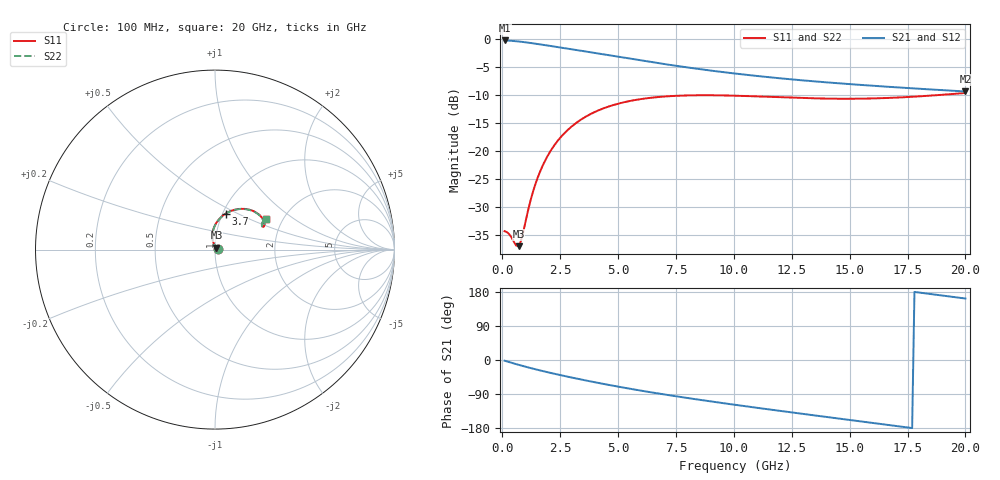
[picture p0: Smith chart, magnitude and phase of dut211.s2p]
! Touchstone file exported from HFSS 2023.1.0
!  File:  D:/Users/fzz/RDL_TSV/temp_RDL_TSV_211_1778757107.aedt
!  Generated:  7:24:07 %x4E0B%x5348  5%x6708 14, 2026
!  Design:  RDL_TSV
!  Project:  temp_RDL_TSV_211_1778757107
!  Setup:  Setup1
!  Solution:  Sweep
! Variables:
!  dtsv = 17.07um
!  hbump = 3um
!  htsv = 53.03um
!  ldown = 671.1um
!  lrdl = 201.79um
!  p = 40
!  p1 = 53.46um
!  rhole = 10um
!  subl = 2820.46um
!  t = 450um
!  tdown = 2.61um
!  trdl = 4.27um
!  viad = 10um
!  wdown = 20.51um
!  wrdl = 10.91um
!  xbump = 18um
# GHz S MA R 50.000000
! Terminal data exported
! Port[1] = TM1_1_T1
! Port[2] = TM1_4_T1
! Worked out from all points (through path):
!   200 points, 100 MHz to 20 GHz, reference 50 ohm
!   highest |S21| = -0.17 dB at 100 MHz (marker M1); lowest = -9.3 dB at 20 GHz (marker M2)
!   group delay of S21, straight-line fit = 25.7 ps
!   lowest |S11| = -37.1 dB at 700 MHz (marker M3), VSWR 1.03, Z = 50.8 + j1.15 ohm
!   |S11| at or under -10 dB: start of sweep to 8.386 GHz; 9.101 GHz to 18.71 GHz (9.607 GHz wide, 69.1 % of centre)
!   |S22| runs from -37.0 to -9.6 dB; largest |S21 - S12| = 9.1e-15
!   S11 on the Smith chart (normalised r, x): 100 MHz: 1.04, +0.00; 3.7 GHz: 1.03, +0.43; 20 GHz: 1.64, +0.63
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0.1  0.01912 3.8  0.9802 -1.9  0.9802 -1.9  0.01913 3.8
! Gamma 0 0 0 0
! Port Impedance 50 0 50 0
0.3  0.01797 11.7  0.976 -5.6  0.976 -5.6  0.01798 11.6
0.6  0.01422 37.4  0.9648 -10.9  0.9648 -10.9  0.01423 37.2
0.7  0.01404 53.5  0.96 -12.7  0.96 -12.7  0.01405 53.3
0.8  0.01547 70.4  0.9549 -14.4  0.9549 -14.4  0.01545 70.1
1.2  0.03474 101.7  0.9317 -20.9  0.9317 -20.9  0.03462 101.6
1.4  0.04838 103.8  0.9191 -24.0  0.9191 -24.0  0.04822 103.7
1.6  0.06308 103.1  0.9062 -27.1  0.9062 -27.1  0.06288 103.0
1.8  0.07831 101.1  0.8932 -30.0  0.8932 -30.0  0.07807 101.0
2.1  0.1014 97.0  0.8738 -34.3  0.8738 -34.3  0.1011 96.9
2.5  0.1314 90.9  0.8482 -39.8  0.8482 -39.8  0.131 90.9
3  0.1663 83.4  0.817 -46.3  0.817 -46.3  0.1658 83.3
3.5  0.1974 76.3  0.7865 -52.7  0.7865 -52.7  0.1968 76.2
3.7  0.2086 73.6  0.7745 -55.1  0.7745 -55.1  0.208 73.6
5.1  0.269 57.6  0.6947 -71.4  0.6947 -71.4  0.2682 57.6
6.8  0.3058 43.6  0.6108 -89.0  0.6108 -89.0  0.3048 43.5
8.4  0.3163 34.5  0.5469 -104.0  0.5469 -104.0  0.3151 34.5
10.1  0.3133 28.6  0.4939 -118.7  0.4939 -118.7  0.312 28.5
11.7  0.3051 25.8  0.4551 -131.9  0.4551 -131.9  0.3038 25.7
13.4  0.297 25.3  0.4227 -145.5  0.4227 -145.5  0.2957 25.2
16.7  0.2995 28.7  0.3763 -171.7  0.3763 -171.7  0.2982 28.7
20  0.3314 31.4  0.3419 162.2  0.3419 162.2  0.3303 31.5
